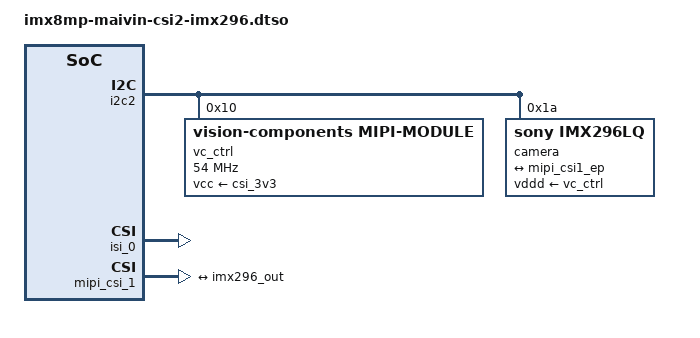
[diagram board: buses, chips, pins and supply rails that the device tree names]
// SPDX-License-Identifier: (GPL-2.0+ OR MIT)
/*
 * Copyright 2021 Ideas on Board Oy
 */

/dts-v1/;
/plugin/;

&i2c2 {
	vc_ctrl: controller@10 {
		compatible = "vision-components,mipi-module";
		reg = <0x10>;
		#clock-cells = <0>;
		vcc-supply = <&csi_3v3>;
		clock-frequency = <54000000>;
	};

	camera@1a {
		compatible = "sony,imx296lq";
		reg = <0x1a>;

		clocks = <&vc_ctrl>;
		clock-names = "inck";

		vddd-supply = <&vc_ctrl>;

		orientation = <1>;	/* Back */
		rotation = <0>;

		port {
			imx296_out: endpoint {
				data-lanes = <1>;
				remote-endpoint = <&mipi_csi1_ep>;
			};
		};
	};
};

&isi_0 {
	status = "okay";
};

&mipi_csi_1 {
	status = "okay";

	ports {
		port@0 {
			mipi_csi1_ep: endpoint {
				remote-endpoint = <&imx296_out>;
				data-lanes = <1>;
			};
		};
	};
};
